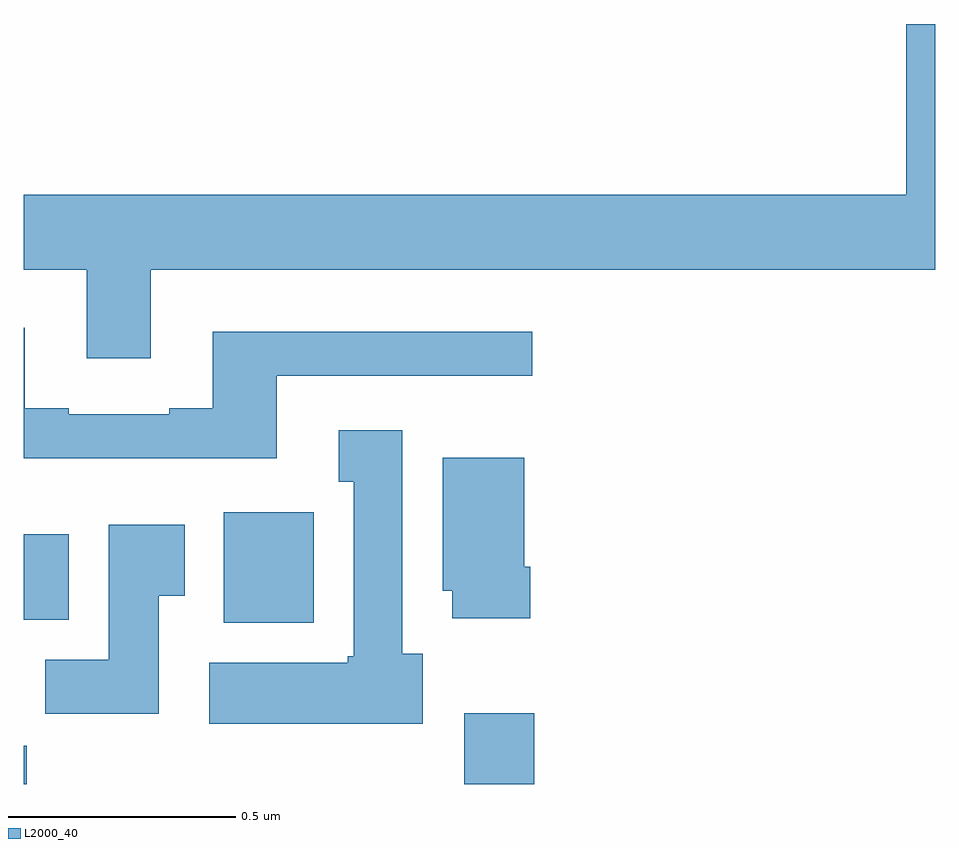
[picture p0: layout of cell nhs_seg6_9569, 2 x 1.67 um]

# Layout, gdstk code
import gdstk
lib = gdstk.Library(unit=1e-6, precision=1e-09)
def R(c, l, rs):  # rectangles x0, y0, x1, y1
    for r in rs: c.add(gdstk.rectangle(r[:2], r[2:], *l))
def P(c, l, *ps):  # polygons
    for p in ps: c.add(gdstk.Polygon(p, *l))
L2000_40 = (2000, 40)

nhs_seg6_9569 = lib.new_cell('nhs_seg6_9569')
R(nhs_seg6_9569, L2000_40, [(235,987.5,235.007,987.584), (235.967,987.5,236.12,987.655), (235.439,987.854,235.636,988.096), (235,987.86,235.099,988.048)])
P(nhs_seg6_9569, L2000_40, [(235.279,988.628),(237,988.628),(237,989.167),(236.936,989.167),(236.936,988.792),(235,988.792),(235,988.628),(235.139,988.628),(235.139,988.434),(235.279,988.434)],
  [(235.555,988.395),(236.116,988.395),(236.116,988.492),(235.415,988.492),(235.415,988.324),(235.319,988.324),(235.319,988.311),(235.099,988.311),(235.099,988.324),(235.003,988.324),(235.003,988.501),(235,988.501),(235,988.214),(235.555,988.214)],
  [(235.876,987.786),(235.831,987.786),(235.831,988.276),(235.691,988.276),(235.691,988.163),(235.724,988.163),(235.724,987.78),(235.711,987.78),(235.711,987.766),(235.407,987.766),(235.407,987.632),(235.876,987.632)],
  [(236.111,987.976),(236.098,987.976),(236.098,988.216),(235.919,988.216),(235.919,987.924),(235.94,987.924),(235.94,987.864),(236.111,987.864)],
  [(235.297,987.913),(235.354,987.913),(235.354,988.069),(235.187,988.069),(235.187,987.772),(235.048,987.772),(235.048,987.654),(235.297,987.654)])

lib.write_gds('nhs_seg6_9569.gds')
